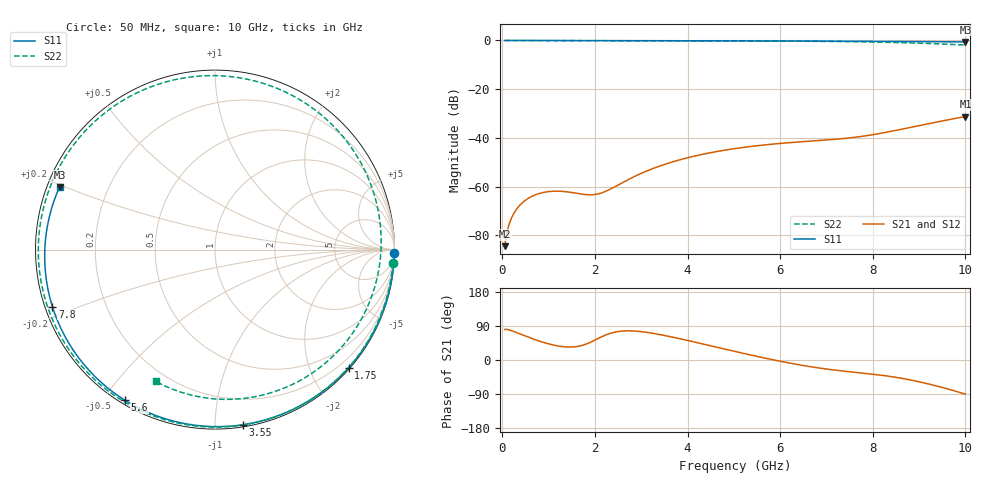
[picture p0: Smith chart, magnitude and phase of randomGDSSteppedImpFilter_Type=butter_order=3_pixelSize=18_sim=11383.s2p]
! freq	dB(S11)	phase(S11)	dB(S12)	phase(S12)
!  dB(S21)	phase(S21)	dB(S22)	phase(S22)
!S-par simulation data
#  GHz  S  DB  R 50
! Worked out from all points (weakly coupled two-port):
!   200 points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, 50 MHz to 10 GHz, reference 50 ohm
!   highest |S21| = -31.21 dB at 10 GHz (marker M1); lowest = -84.4 dB at 50 MHz (marker M2)
!   lowest |S11| = -0.6 dB at 10 GHz (marker M3), VSWR 29.11, Z = 1.78 + j9.7 ohm
!   |S11| at or under -10 dB: nowhere
!   |S22| runs from -1.9 to -0.1 dB; largest |S21 - S12| = 0
!   S11 on the Smith chart (normalised r, x): 50 MHz: 5, -98; 1.75 GHz: 0.02, -2.64; 3.55 GHz: 0.01, -1.17; 5.6 GHz: 0.01, -0.57; 7.8 GHz: 0.02, -0.17; 10 GHz: 0.04, +0.19
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0.05  -0.01 -1.2  -84.43 80.5  -84.43 80.5  -0.05 -4.3
0.3  -0.01 -7.2  -69.47 72.7  -69.47 72.7  -0.06 -25.8
0.6  -0.02 -14.5  -64.36 58.4  -64.36 58.4  -0.07 -50.2
0.85  -0.03 -20.4  -62.53 47.9  -62.53 47.9  -0.08 -68.9
1.1  -0.03 -26.4  -61.87 39.6  -61.87 39.6  -0.09 -85.9
1.75  -0.05 -41.5  -63.14 39.5  -63.14 39.5  -0.11 -122.7
2.1  -0.06 -49.5  -62.83 58.6  -62.83 58.6  -0.12 -138.9
2.5  -0.07 -58.4  -59.34 75.1  -59.34 75.1  -0.12 -155.4
3.4  -0.10 -77.7  -51.55 67.1  -51.55 67.1  -0.14 172.7
3.55  -0.11 -80.8  -50.59 63.6  -50.59 63.6  -0.14 167.8
4.25  -0.13 -95.0  -47.03 44.6  -47.03 44.6  -0.17 145.5
5.05  -0.17 -110.5  -44.30 21.8  -44.30 21.8  -0.21 120.2
5.6  -0.19 -120.9  -42.99 6.9  -42.99 6.9  -0.24 102.0
6.15  -0.23 -131.0  -42.02 -6.8  -42.02 -6.8  -0.29 82.7
6.7  -0.26 -140.9  -41.26 -18.5  -41.26 -18.5  -0.35 61.9
7.25  -0.31 -150.8  -40.46 -27.6  -40.46 -27.6  -0.44 39.2
7.8  -0.36 -160.7  -39.27 -34.8  -39.27 -34.8  -0.58 14.3
8.35  -0.41 -170.7  -37.48 -42.9  -37.48 -42.9  -0.78 -13.1
8.8  -0.46 -179.0  -35.74 -52.4  -35.74 -52.4  -1.01 -37.6
9.25  -0.51 172.6  -33.98 -64.6  -33.98 -64.6  -1.29 -64.3
9.65  -0.55 164.9  -32.48 -77.4  -32.48 -77.4  -1.60 -90.0
10  -0.60 158.0  -31.21 -90.2  -31.21 -90.2  -1.88 -114.2
